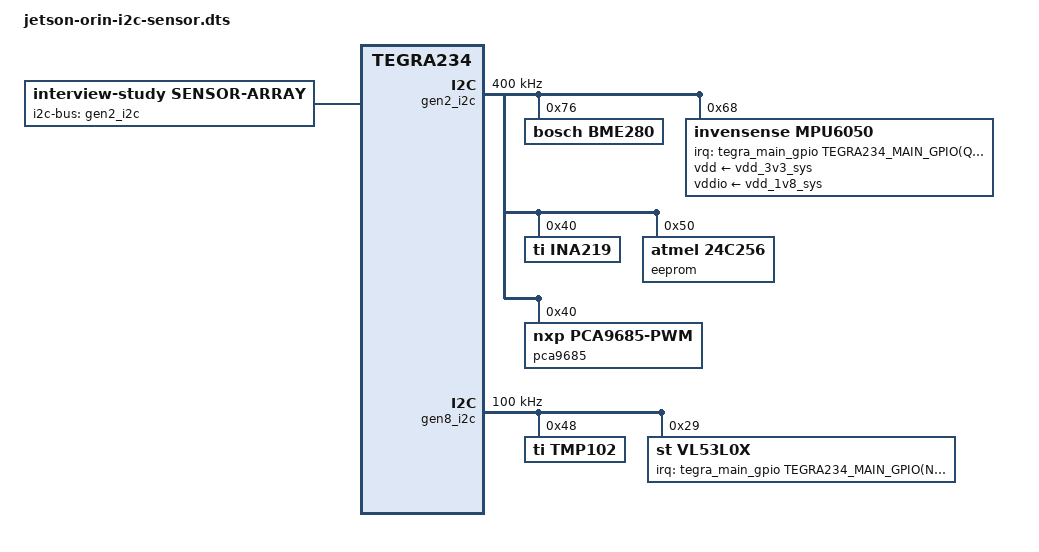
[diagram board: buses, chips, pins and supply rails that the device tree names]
/*
 * jetson-orin-i2c-sensor.dts - I2C device tree overlay for Jetson Orin AGX
 *
 * This overlay configures I2C devices on the Jetson Orin 40-pin header,
 * including temperature sensors, accelerometers, and custom I2C peripherals.
 *
 * Compile with:
 *   dtc -@ -I dts -O dtb -o jetson-orin-i2c-sensor.dtbo jetson-orin-i2c-sensor.dts
 *
 * Learning objectives:
 * 1. Understand I2C device configuration in device tree
 * 2. Learn I2C addressing and bus configuration
 * 3. Practice interrupt integration for I2C devices
 * 4. Handle pinmux for I2C functionality
 */

/dts-v1/;
/plugin/;

#include <dt-bindings/gpio/tegra234-gpio.h>
#include <dt-bindings/interrupt-controller/irq.h>

/ {
    compatible = "nvidia,p3737-0000+p3701-0000", "nvidia,tegra234";

    /* Fragment targeting I2C bus 2 (40-pin header pins 3/5) */
    fragment@0 {
        target = <&gen2_i2c>;  /* I2C bus 2 - GP I2C */

        __overlay__ {
            status = "okay";

            /* Configure I2C bus parameters */
            clock-frequency = <400000>;  /* 400 kHz fast mode */

            /* BME280 Environmental Sensor - Temperature/Humidity/Pressure */
            bme280@76 {
                compatible = "bosch,bme280";
                reg = <0x76>;  /* I2C address 0x76 (or 0x77 depending on SDO pin) */
                status = "okay";
            };

            /* MPU6050 6-axis IMU - Accelerometer + Gyroscope */
            mpu6050@68 {
                compatible = "invensense,mpu6050";
                reg = <0x68>;  /* I2C address 0x68 */
                interrupt-parent = <&tegra_main_gpio>;
                interrupts = <TEGRA234_MAIN_GPIO(Q, 7) IRQ_TYPE_EDGE_RISING>;
                vdd-supply = <&vdd_3v3_sys>;
                vddio-supply = <&vdd_1v8_sys>;
                status = "okay";

                mount-matrix = "0", "-1", "0",
                               "-1", "0", "0",
                               "0", "0", "1";
            };

            /* INA219 Current/Power Monitor */
            ina219@40 {
                compatible = "ti,ina219";
                reg = <0x40>;  /* I2C address 0x40-0x4F configurable */
                shunt-resistor = <100000>;  /* 0.1 ohm in micro-ohms */
                status = "okay";
            };

            /* EEPROM 24C256 - 256 Kbit I2C EEPROM */
            eeprom@50 {
                compatible = "atmel,24c256";
                reg = <0x50>;  /* I2C address 0x50-0x57 */
                pagesize = <64>;
                size = <32768>;  /* 32KB */
                status = "okay";
            };

            /* PCA9685 16-channel PWM controller */
            pca9685@40 {
                compatible = "nxp,pca9685-pwm";
                reg = <0x40>;
                #pwm-cells = <2>;
                status = "okay";

                /* Example PWM output configuration */
                pwm@0 {
                    reg = <0>;
                    /* Can be used for servo control, LED dimming, etc. */
                };
            };
        };
    };

    /* Fragment for I2C bus 8 (40-pin header alternate) */
    fragment@1 {
        target = <&gen8_i2c>;  /* I2C bus 8 */

        __overlay__ {
            status = "okay";
            clock-frequency = <100000>;  /* 100 kHz standard mode */

            /* TMP102 Temperature Sensor */
            tmp102@48 {
                compatible = "ti,tmp102";
                reg = <0x48>;
                status = "okay";
            };

            /* VL53L0X Time-of-Flight Distance Sensor */
            vl53l0x@29 {
                compatible = "st,vl53l0x";
                reg = <0x29>;
                interrupt-parent = <&tegra_main_gpio>;
                interrupts = <TEGRA234_MAIN_GPIO(N, 2) IRQ_TYPE_EDGE_FALLING>;
                status = "okay";
            };
        };
    };

    /* Fragment for pinmux - ensure I2C pins are configured correctly */
    fragment@2 {
        target = <&pinmux>;

        __overlay__ {
            i2c2_pins: i2c2-pins {
                i2c2-scl {
                    nvidia,pins = "gen2_i2c_scl_pcc7";
                    nvidia,function = "i2c2";
                    nvidia,pull = <TEGRA_PIN_PULL_NONE>;
                    nvidia,tristate = <TEGRA_PIN_DISABLE>;
                    nvidia,enable-input = <TEGRA_PIN_ENABLE>;
                    nvidia,io-high-voltage = <TEGRA_PIN_DISABLE>;
                    nvidia,lpdr = <TEGRA_PIN_DISABLE>;
                };

                i2c2-sda {
                    nvidia,pins = "gen2_i2c_sda_pcc6";
                    nvidia,function = "i2c2";
                    nvidia,pull = <TEGRA_PIN_PULL_NONE>;
                    nvidia,tristate = <TEGRA_PIN_DISABLE>;
                    nvidia,enable-input = <TEGRA_PIN_ENABLE>;
                    nvidia,io-high-voltage = <TEGRA_PIN_DISABLE>;
                    nvidia,lpdr = <TEGRA_PIN_DISABLE>;
                };
            };

            i2c8_pins: i2c8-pins {
                i2c8-scl {
                    nvidia,pins = "gen8_i2c_scl_pdd2";
                    nvidia,function = "i2c8";
                    nvidia,pull = <TEGRA_PIN_PULL_NONE>;
                    nvidia,tristate = <TEGRA_PIN_DISABLE>;
                    nvidia,enable-input = <TEGRA_PIN_ENABLE>;
                };

                i2c8-sda {
                    nvidia,pins = "gen8_i2c_sda_pdd1";
                    nvidia,function = "i2c8";
                    nvidia,pull = <TEGRA_PIN_PULL_NONE>;
                    nvidia,tristate = <TEGRA_PIN_DISABLE>;
                    nvidia,enable-input = <TEGRA_PIN_ENABLE>;
                };
            };
        };
    };

    /* Fragment for custom I2C device node */
    fragment@3 {
        target-path = "/";

        __overlay__ {
            /* Custom I2C sensor array */
            sensor-array {
                compatible = "interview-study,sensor-array";
                i2c-bus = <&gen2_i2c>;
                status = "okay";

                sensor@0 {
                    label = "temp-sensor-1";
                    i2c-address = <0x48>;
                };

                sensor@1 {
                    label = "temp-sensor-2";
                    i2c-address = <0x49>;
                };
            };
        };
    };
};

/*
 * I2C Bus Mapping on Jetson Orin AGX:
 *
 * Bus | Device Path        | 40-Pin Header | Speed
 * ----|-------------------|---------------|-------
 * 2   | /dev/i2c-2        | Pins 3,5      | 400kHz
 * 8   | /dev/i2c-8        | -             | 100kHz
 * 1   | /dev/i2c-1        | -             | 400kHz
 *
 * Pin Mapping:
 * Pin 3: I2C2_SDA (PCC6)
 * Pin 5: I2C2_SCL (PCC7)
 */

/*
 * Common I2C Sensor Addresses:
 *
 * Device              | Address Range | Protocol
 * --------------------|---------------|----------
 * BME280/BMP280       | 0x76, 0x77    | I2C
 * MPU6050/9250        | 0x68, 0x69    | I2C
 * INA219              | 0x40-0x4F     | I2C
 * EEPROM 24Cxx        | 0x50-0x57     | I2C
 * TMP102/TMP75        | 0x48-0x4B     | I2C
 * PCA9685 (PWM)       | 0x40-0x7F     | I2C
 * VL53L0X (ToF)       | 0x29          | I2C
 * TSL2561 (Light)     | 0x29, 0x39,0x49| I2C
 * SI1145 (UV)         | 0x60          | I2C
 * ADS1115 (ADC)       | 0x48-0x4B     | I2C
 */

/*
 * I2C Device Properties Reference:
 *
 * - compatible: String matching driver in kernel
 * - reg: I2C slave address (7-bit, not including R/W bit)
 * - clock-frequency: Bus speed in Hz (100000, 400000, 1000000)
 * - interrupt-parent: GPIO controller for interrupt line
 * - interrupts: GPIO pin and trigger type
 * - vdd-supply: Main power supply regulator
 * - vddio-supply: I/O voltage supply regulator
 * - wakeup-source: Device can wake system from suspend
 */

/*
 * Kernel driver binding:
 *
 * The compatible string must match a driver's of_match_table:
 *
 * static const struct of_device_id bme280_of_match[] = {
 *     { .compatible = "bosch,bme280" },
 *     { }
 * };
 * MODULE_DEVICE_TABLE(of, bme280_of_match);
 */

/*
 * Testing I2C devices:
 *
 * 1. Scan for devices on bus:
 *    i2cdetect -y -r 2
 *
 * 2. Read from device register:
 *    i2cget -y 2 0x76 0xD0  # Read BME280 chip ID (should return 0x60)
 *
 * 3. Write to device register:
 *    i2cset -y 2 0x76 0xF4 0x27  # Set BME280 ctrl_meas register
 *
 * 4. Dump all registers:
 *    i2cdump -y 2 0x76
 *
 * 5. Check kernel driver binding:
 *    ls -l /sys/bus/i2c/devices/2-0076/driver
 *    cat /sys/bus/i2c/devices/2-0076/name
 *
 * 6. Read sensor data (if driver loaded):
 *    cat /sys/bus/iio/devices/iio:device0/in_temp_input
 *    cat /sys/bus/iio/devices/iio:device0/in_pressure_input
 *    cat /sys/bus/iio/devices/iio:device0/in_humidityrelative_input
 */

/*
 * Example kernel driver usage:
 *
 * #include <linux/i2c.h>
 * #include <linux/of_device.h>
 *
 * static int sensor_probe(struct i2c_client *client,
 *                         const struct i2c_device_id *id) {
 *     struct device *dev = &client->dev;
 *     u8 chip_id;
 *     int ret;
 *
 *     // Read chip ID register
 *     ret = i2c_smbus_read_byte_data(client, CHIP_ID_REG);
 *     if (ret < 0) {
 *         dev_err(dev, "Failed to read chip ID\n");
 *         return ret;
 *     }
 *
 *     chip_id = (u8)ret;
 *     dev_info(dev, "Found sensor with chip ID: 0x%02x\n", chip_id);
 *
 *     return 0;
 * }
 *
 * static const struct of_device_id sensor_of_match[] = {
 *     { .compatible = "bosch,bme280" },
 *     { }
 * };
 * MODULE_DEVICE_TABLE(of, sensor_of_match);
 *
 * static struct i2c_driver sensor_driver = {
 *     .driver = {
 *         .name = "bme280",
 *         .of_match_table = sensor_of_match,
 *     },
 *     .probe = sensor_probe,
 * };
 * module_i2c_driver(sensor_driver);
 */

/*
 * I2C Bus Speed Considerations:
 *
 * - Standard Mode: 100 kHz (most compatible)
 * - Fast Mode: 400 kHz (common for sensors)
 * - Fast Mode Plus: 1 MHz (high-speed devices)
 * - High Speed Mode: 3.4 MHz (rare, special hardware)
 *
 * Orin supports up to 1 MHz on most buses
 */

/*
 * Pull-up Resistors:
 *
 * I2C requires external pull-up resistors on SDA and SCL lines.
 * Typical values: 2.2kΩ to 10kΩ depending on bus capacitance.
 *
 * For 40-pin header: usually 2.2kΩ to 3.3V (provided on carrier board)
 */

/*
 * Troubleshooting:
 *
 * 1. No devices detected:
 *    - Check power supply to sensor
 *    - Verify pull-up resistors present
 *    - Confirm correct bus number
 *    - Check pinmux configuration
 *
 * 2. Device detected but no driver:
 *    - Verify compatible string matches kernel driver
 *    - Check if driver is compiled (CONFIG_SENSORS_BME280)
 *    - Load driver manually: modprobe bme280-i2c
 *
 * 3. Communication errors:
 *    - Reduce bus speed (try 100kHz)
 *    - Check for bus contention
 *    - Verify voltage levels (3.3V vs 5V)
 *    - Check cable length (keep short for high speed)
 */
